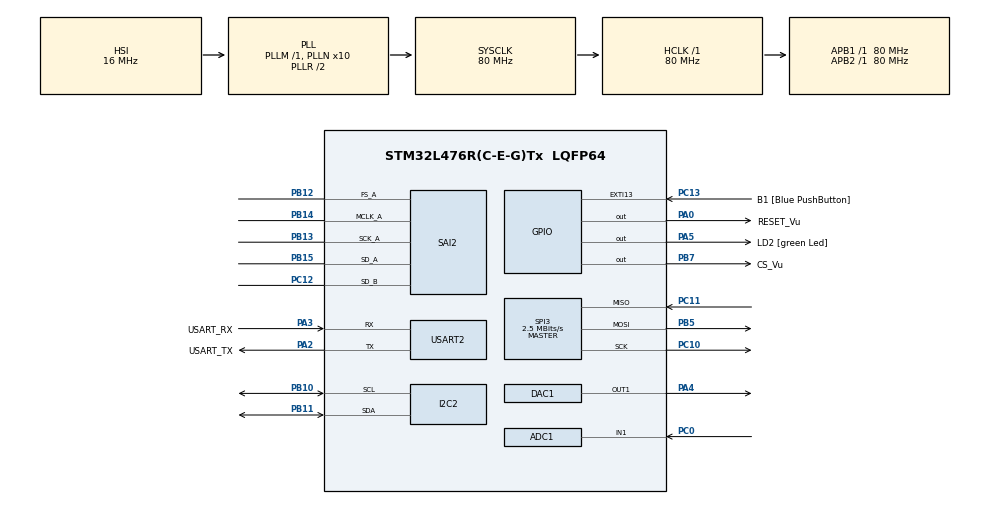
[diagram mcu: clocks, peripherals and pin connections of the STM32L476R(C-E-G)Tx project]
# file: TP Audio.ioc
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ADC1.Channel-0\#ChannelRegularConversion=ADC_CHANNEL_1
ADC1.NbrOfConversionFlag=1
ADC1.OffsetNumber-0\#ChannelRegularConversion=ADC_OFFSET_NONE
ADC1.Rank-0\#ChannelRegularConversion=1
ADC1.SamplingTime-0\#ChannelRegularConversion=ADC_SAMPLETIME_2CYCLES_5
ADC1.master=1
Dma.Request0=SAI2_A
Dma.Request1=SAI2_B
Dma.SAI2_A.0.Direction=DMA_MEMORY_TO_PERIPH
Dma.SAI2_A.0.Instance=DMA1_Channel6
Dma.SAI2_A.0.MemDataAlignment=DMA_MDATAALIGN_WORD
Dma.SAI2_A.0.MemInc=DMA_MINC_ENABLE
Dma.SAI2_A.0.Mode=DMA_CIRCULAR
Dma.SAI2_A.0.PeriphDataAlignment=DMA_PDATAALIGN_WORD
Dma.SAI2_A.0.PeriphInc=DMA_PINC_DISABLE
Dma.SAI2_A.0.Priority=DMA_PRIORITY_LOW
Dma.SAI2_B.1.Direction=DMA_PERIPH_TO_MEMORY
Dma.SAI2_B.1.Instance=DMA1_Channel7
Dma.SAI2_B.1.MemDataAlignment=DMA_MDATAALIGN_WORD
Dma.SAI2_B.1.MemInc=DMA_MINC_ENABLE
Dma.SAI2_B.1.Mode=DMA_CIRCULAR
Dma.SAI2_B.1.PeriphDataAlignment=DMA_PDATAALIGN_WORD
Dma.SAI2_B.1.PeriphInc=DMA_PINC_DISABLE
Dma.SAI2_B.1.Priority=DMA_PRIORITY_LOW
FREERTOS.Tasks01=defaultTask,0,128,StartDefaultTask,Default,NULL,Dynamic,NULL,NULL
I2C2.Timing=0x10D19CE4
Mcu.Family=STM32L4
Mcu.Name=STM32L476R(C-E-G)Tx
Mcu.Package=LQFP64
NVIC.DMA1_Channel6_IRQn=true\:5\:0\:false\:false\:true\:true\:false\:true\:true
NVIC.DMA1_Channel7_IRQn=true\:5\:0\:false\:false\:true\:true\:false\:true\:true
NVIC.PriorityGroup=NVIC_PRIORITYGROUP_4
NVIC.SAI2_IRQn=true\:5\:0\:false\:false\:true\:true\:true\:true\:true
PA0.GPIO_Label=RESET_Vu
PA0.PinState=GPIO_PIN_SET
PA0.Signal=GPIO_Output
PA13\ (JTMS-SWDIO).GPIO_Label=TMS
PA13\ (JTMS-SWDIO).Mode=Serial_Wire
PA13\ (JTMS-SWDIO).Signal=SYS_JTMS-SWDIO
PA14\ (JTCK-SWCLK).GPIO_Label=TCK
PA14\ (JTCK-SWCLK).Mode=Serial_Wire
PA14\ (JTCK-SWCLK).Signal=SYS_JTCK-SWCLK
PA2.GPIO_Label=USART_TX
PA2.GPIO_Mode=GPIO_MODE_AF_PP
PA2.GPIO_PuPd=GPIO_NOPULL
PA2.GPIO_Speed=GPIO_SPEED_FREQ_VERY_HIGH
PA2.Mode=Asynchronous
PA2.Signal=USART2_TX
PA3.GPIO_Label=USART_RX
PA3.GPIO_Mode=GPIO_MODE_AF_PP
PA3.GPIO_PuPd=GPIO_NOPULL
PA3.GPIO_Speed=GPIO_SPEED_FREQ_VERY_HIGH
PA3.Mode=Asynchronous
PA3.Signal=USART2_RX
PA4.Signal=COMP_DAC11_group
PA5.GPIO_Label=LD2 [green Led]
PA5.GPIO_ModeDefaultOutputPP=GPIO_MODE_OUTPUT_PP
PA5.GPIO_PuPd=GPIO_NOPULL
PA5.GPIO_Speed=GPIO_SPEED_FREQ_LOW
PA5.Signal=GPIO_Output
PB10.Mode=I2C
PB10.Signal=I2C2_SCL
PB11.Mode=I2C
PB11.Signal=I2C2_SDA
PB12.Mode=SAI_A_MasterWithClock
PB12.Signal=SAI2_FS_A
PB13.Mode=SAI_A_MasterWithClock
PB13.Signal=SAI2_SCK_A
PB14.Mode=SAI_A_MasterWithClock
PB14.Signal=SAI2_MCLK_A
PB15.Mode=SAI_A_MasterWithClock
PB15.Signal=SAI2_SD_A
PB3\ (JTDO-TRACESWO).GPIO_Label=SWO
PB3\ (JTDO-TRACESWO).Signal=SYS_JTDO-SWO
PB5.Mode=Full_Duplex_Master
PB5.Signal=SPI3_MOSI
PB7.GPIO_Label=CS_Vu
PB7.PinState=GPIO_PIN_SET
PB7.Signal=GPIO_Output
PC0.Signal=ADCx_IN1
PC10.Mode=Full_Duplex_Master
PC10.Signal=SPI3_SCK
PC11.Mode=Full_Duplex_Master
PC11.Signal=SPI3_MISO
PC12.Mode=SAI_B_SyncSlave
PC12.Signal=SAI2_SD_B
PC13.GPIO_Label=B1 [Blue PushButton]
PC13.GPIO_ModeDefaultEXTI=GPIO_MODE_IT_FALLING
PC13.GPIO_PuPd=GPIO_NOPULL
PC13.Signal=GPXTI13
PC14-OSC32_IN\ (PC14).Mode=LSE-External-Oscillator
PC14-OSC32_IN\ (PC14).Signal=RCC_OSC32_IN
PC15-OSC32_OUT\ (PC15).Mode=LSE-External-Oscillator
PC15-OSC32_OUT\ (PC15).Signal=RCC_OSC32_OUT
PH0-OSC_IN\ (PH0).Signal=RCC_OSC_IN
PH1-OSC_OUT\ (PH1).Signal=RCC_OSC_OUT
ProjectManager.HeapSize=0x200
ProjectManager.StackSize=0x400
ProjectManager.TargetToolchain=STM32CubeIDE
RCC.ADCFreq_Value=64000000
RCC.AHBFreq_Value=80000000
RCC.APB1Freq_Value=80000000
RCC.APB1TimFreq_Value=80000000
RCC.APB2Freq_Value=80000000
RCC.APB2TimFreq_Value=80000000
RCC.CortexFreq_Value=80000000
RCC.HCLKFreq_Value=80000000
RCC.HSE_VALUE=8000000
RCC.HSI_VALUE=16000000
RCC.MSI_VALUE=4000000
RCC.PLLN=10
RCC.PLLSourceVirtual=RCC_PLLSOURCE_HSI
RCC.PREFETCH_ENABLE=1
RCC.SYSCLKFreq_VALUE=80000000
RCC.SYSCLKSource=RCC_SYSCLKSOURCE_PLLCLK
RCC.USBFreq_Value=64000000
RCC.VCOOutputFreq_Value=160000000
SAI2.AudioFrequency-SAI_A_MasterWithClock=SAI_AUDIO_FREQUENCY_48K
SAI2.ErrorAudioFreq-SAI_A_MasterWithClock=48.8 %
SAI2.InitProtocol-SAI_A_MasterWithClock=Enable
SAI2.InitProtocol-SAI_B_SyncSlave=Enable
SAI2.Instance-SAI_A_MasterWithClock=SAI$Index_Block_A
SAI2.Instance-SAI_B_SyncSlave=SAI$Index_Block_B
SAI2.MClockEnable-SAI_A_MasterWithClock=SAI_MASTERCLOCK_ENABLE
SAI2.RealAudioFreq-SAI_A_MasterWithClock=71.428 KHz
SAI2.VirtualMode-SAI_A_MasterWithClock=VM_MASTER
SAI2.VirtualMode-SAI_B_SyncSlave=VM_SLAVE
SAI2.VirtualProtocol-SAI_A_BASIC=VM_BASIC_PROTOCOL
SAI2.VirtualProtocol-SAI_B_BASIC=VM_BASIC_PROTOCOL
SH.ADCx_IN1.0=ADC1_IN1,IN1-Single-Ended
SH.COMP_DAC11_group.0=DAC1_OUT1,DAC_OUT1
SPI3.BaudRatePrescaler=SPI_BAUDRATEPRESCALER_32
SPI3.CalculateBaudRate=2.5 MBits/s
SPI3.DataSize=SPI_DATASIZE_8BIT
SPI3.Direction=SPI_DIRECTION_2LINES
SPI3.Mode=SPI_MODE_MASTER
SPI3.VirtualType=VM_MASTER
USART2.VirtualMode-Asynchronous=VM_ASYNC
VP_FREERTOS_VS_CMSIS_V1.Mode=CMSIS_V1
VP_SAI2_VP_$IpInstance_SAIA_SAI_BASIC.Mode=SAI_A_BASIC
VP_SAI2_VP_$IpInstance_SAIB_SAI_BASIC.Mode=SAI_B_BASIC
board=NUCLEO-L476RG

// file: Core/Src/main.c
/* USER CODE BEGIN Header */
/**
 ******************************************************************************
 * @file           : main.c
 * @brief          : Main program body
 ******************************************************************************
 * @attention
 *
 * Copyright (c) 2024 STMicroelectronics.
 * All rights reserved.
 *
 * This software is licensed under terms that can be found in the LICENSE file
 * in the root directory of this software component.
 * If no LICENSE file comes with this software, it is provided AS-IS.
 *
 ******************************************************************************
 */
/* USER CODE END Header */
#include "main.h"
#include "cmsis_os.h"
#include "adc.h"
#include "dac.h"
#include "dma.h"
#include "i2c.h"
#include "sai.h"
#include "spi.h"
#include "usart.h"
#include "gpio.h"

/* USER CODE BEGIN Includes */
#include "components/MCP23S17.h"
#include "components/wave_generator.h"
#include "components/numeric_bypass.h"
#include "components/sgtl5000.h"

/* USER CODE END Includes */

/* USER CODE BEGIN PV */
h_shell_t h_shell;

extern I2C_HandleTypeDef hi2c2;

extern SAI_HandleTypeDef hsai_BlockA2;
extern SAI_HandleTypeDef hsai_BlockB2;

h_sgtl5000_t h_sgtl5000 = {&hi2c2, SGTL5000_I2C_ADDR};

/* USER CODE END PV */

void SystemClock_Config(void);
void PeriphCommonClock_Config(void);
void MX_FREERTOS_Init(void);

/* USER CODE BEGIN 0 */

uint16_t getCHIP_ID(uint8_t reg, uint8_t I2C_addr)
{
	uint16_t data = 0;
	HAL_StatusTypeDef status;
	status = HAL_I2C_Mem_Read(&hi2c2, I2C_addr, reg, I2C_MEMADD_SIZE_8BIT, &data, 2, HAL_MAX_DELAY);
	if (status != HAL_OK){
		return -1;
	}
	return data;
}

/* USER CODE END 0 */

int main(void)
{

	/* MCU Configuration--------------------------------------------------------*/

	/* Reset of all peripherals, Initializes the Flash interface and the Systick. */
	HAL_Init();

	/* Configure the system clock */
	SystemClock_Config();

	/* Configure the peripherals common clocks */
	PeriphCommonClock_Config();

	/* Initialize all configured peripherals */
	MX_GPIO_Init();
	MX_DMA_Init();
	MX_USART2_UART_Init();
	MX_SPI3_Init();
	MX_I2C2_Init();
	MX_SAI2_Init();
	MX_DAC1_Init();
	MX_ADC1_Init();
	/* USER CODE BEGIN 2 */

	__HAL_SAI_ENABLE(&hsai_BlockA2);

	h_shell.drv.receive = drv_uart2_receive;
	h_shell.drv.transmit = drv_uart2_transmit;

	// Init du GPIO Extender
	MCP23S17_Init();

	// Génération du signal triangle
	sgtl5000_init(&h_sgtl5000);
	Triangle_Wave_Start();

	uint16_t chip_ID = getCHIP_ID(CODEC_ID_REG, CODEC_ADDR);
	// CHIP ID = 0x11a0

	shell_init(&h_shell);
	shell_run(&h_shell);
	/* USER CODE END 2 */

	/* Call init function for freertos objects (in cmsis_os2.c) */
	MX_FREERTOS_Init();

	/* Start scheduler */
	osKernelStart();

	/* We should never get here as control is now taken by the scheduler */

	/* Infinite loop */
	/* USER CODE BEGIN WHILE */
	while (1)
	{
		MCP23S17_Chenillard();
		printf("Toggle Led... \r\n");
		HAL_GPIO_TogglePin(LD2_GPIO_Port, LD2_Pin);
		HAL_Delay(1000);
		/* USER CODE END WHILE */

	}
}

void SystemClock_Config(void)
{
	RCC_OscInitTypeDef RCC_OscInitStruct = {0};
	RCC_ClkInitTypeDef RCC_ClkInitStruct = {0};

	/** Configure the main internal regulator output voltage
	 */
	if (HAL_PWREx_ControlVoltageScaling(PWR_REGULATOR_VOLTAGE_SCALE1) != HAL_OK)
	{
		Error_Handler();
	}

	/** Initializes the RCC Oscillators according to the specified parameters
	 * in the RCC_OscInitTypeDef structure.
	 */
	RCC_OscInitStruct.OscillatorType = RCC_OSCILLATORTYPE_HSI;
	RCC_OscInitStruct.HSIState = RCC_HSI_ON;
	RCC_OscInitStruct.HSICalibrationValue = RCC_HSICALIBRATION_DEFAULT;
	RCC_OscInitStruct.PLL.PLLState = RCC_PLL_ON;
	RCC_OscInitStruct.PLL.PLLSource = RCC_PLLSOURCE_HSI;
	RCC_OscInitStruct.PLL.PLLM = 1;
	RCC_OscInitStruct.PLL.PLLN = 10;
	RCC_OscInitStruct.PLL.PLLP = RCC_PLLP_DIV7;
	RCC_OscInitStruct.PLL.PLLQ = RCC_PLLQ_DIV2;
	RCC_OscInitStruct.PLL.PLLR = RCC_PLLR_DIV2;
	if (HAL_RCC_OscConfig(&RCC_OscInitStruct) != HAL_OK)
	{
		Error_Handler();
	}

	/** Initializes the CPU, AHB and APB buses clocks
	 */
	RCC_ClkInitStruct.ClockType = RCC_CLOCKTYPE_HCLK|RCC_CLOCKTYPE_SYSCLK
			|RCC_CLOCKTYPE_PCLK1|RCC_CLOCKTYPE_PCLK2;
	RCC_ClkInitStruct.SYSCLKSource = RCC_SYSCLKSOURCE_PLLCLK;
	RCC_ClkInitStruct.AHBCLKDivider = RCC_SYSCLK_DIV1;
	RCC_ClkInitStruct.APB1CLKDivider = RCC_HCLK_DIV1;
	RCC_ClkInitStruct.APB2CLKDivider = RCC_HCLK_DIV1;

	if (HAL_RCC_ClockConfig(&RCC_ClkInitStruct, FLASH_LATENCY_4) != HAL_OK)
	{
		Error_Handler();
	}
}

void PeriphCommonClock_Config(void)
{
	RCC_PeriphCLKInitTypeDef PeriphClkInit = {0};

	/** Initializes the peripherals clock
	 */
	PeriphClkInit.PeriphClockSelection = RCC_PERIPHCLK_SAI2|RCC_PERIPHCLK_ADC;
	PeriphClkInit.Sai2ClockSelection = RCC_SAI2CLKSOURCE_PLLSAI1;
	PeriphClkInit.AdcClockSelection = RCC_ADCCLKSOURCE_PLLSAI1;
	PeriphClkInit.PLLSAI1.PLLSAI1Source = RCC_PLLSOURCE_HSI;
	PeriphClkInit.PLLSAI1.PLLSAI1M = 1;
	PeriphClkInit.PLLSAI1.PLLSAI1N = 8;
	PeriphClkInit.PLLSAI1.PLLSAI1P = RCC_PLLP_DIV7;
	PeriphClkInit.PLLSAI1.PLLSAI1Q = RCC_PLLQ_DIV2;
	PeriphClkInit.PLLSAI1.PLLSAI1R = RCC_PLLR_DIV2;
	PeriphClkInit.PLLSAI1.PLLSAI1ClockOut = RCC_PLLSAI1_SAI1CLK|RCC_PLLSAI1_ADC1CLK;
	if (HAL_RCCEx_PeriphCLKConfig(&PeriphClkInit) != HAL_OK)
	{
		Error_Handler();
	}
}

void Error_Handler(void)
{
	__disable_irq();
	while (1)
	{
	}
}

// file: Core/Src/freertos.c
/* USER CODE BEGIN Header */
/**
  ******************************************************************************
  * File Name          : freertos.c
  * Description        : Code for freertos applications
  ******************************************************************************
  * @attention
  *
  * Copyright (c) 2024 STMicroelectronics.
  * All rights reserved.
  *
  * This software is licensed under terms that can be found in the LICENSE file
  * in the root directory of this software component.
  * If no LICENSE file comes with this software, it is provided AS-IS.
  *
  ******************************************************************************
  */
/* USER CODE END Header */

#include "FreeRTOS.h"
#include "task.h"
#include "main.h"
#include "cmsis_os.h"

osThreadId defaultTaskHandle;

void StartDefaultTask(void const * argument);

void MX_FREERTOS_Init(void); /* (MISRA C 2004 rule 8.1) */

/* GetIdleTaskMemory prototype (linked to static allocation support) */
void vApplicationGetIdleTaskMemory( StaticTask_t **ppxIdleTaskTCBBuffer, StackType_t **ppxIdleTaskStackBuffer, uint32_t *pulIdleTaskStackSize );

/* USER CODE BEGIN GET_IDLE_TASK_MEMORY */
static StaticTask_t xIdleTaskTCBBuffer;
static StackType_t xIdleStack[configMINIMAL_STACK_SIZE];

void vApplicationGetIdleTaskMemory( StaticTask_t **ppxIdleTaskTCBBuffer, StackType_t **ppxIdleTaskStackBuffer, uint32_t *pulIdleTaskStackSize )
{
  *ppxIdleTaskTCBBuffer = &xIdleTaskTCBBuffer;
  *ppxIdleTaskStackBuffer = &xIdleStack[0];
  *pulIdleTaskStackSize = configMINIMAL_STACK_SIZE;
  /* place for user code */
}
/* USER CODE END GET_IDLE_TASK_MEMORY */

void MX_FREERTOS_Init(void) {

  /* Create the thread(s) */
  /* definition and creation of defaultTask */
  osThreadDef(defaultTask, StartDefaultTask, osPriorityNormal, 0, 128);
  defaultTaskHandle = osThreadCreate(osThread(defaultTask), NULL);

}

void StartDefaultTask(void const * argument)
{
  for(;;)
  {
    osDelay(1);
  }
}
